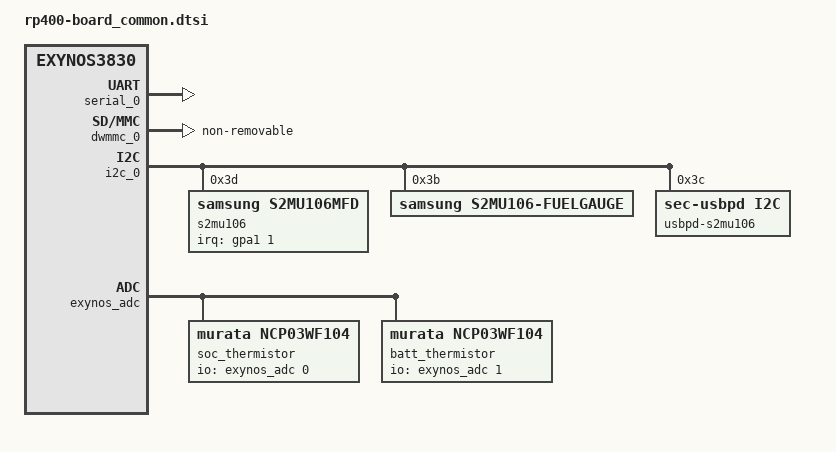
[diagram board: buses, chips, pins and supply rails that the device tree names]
/*
 * SAMSUNG EXYNOS9630 board common device tree source
 *
 * Copyright (c) 2019 Samsung Electronics Co., Ltd.
 *		http://www.samsung.com
 *
 * This program is free software; you can redistribute it and/or modify
 * it under the terms of the GNU General Public License version 2 as
 * published by the Free Software Foundation.
 */

#include <dt-bindings/interrupt-controller/exynos3830.h>
#include <dt-bindings/clock/exynos3830.h>
#include "exynos3830_battery_data.dtsi"

/ {
	fragment@common {
		target-path = "/";
		__overlay__ {
			#address-cells = <2>;
			#size-cells = <1>;

			fixed-rate-clocks {
				oscclk {
					compatible = "samsung,exynos9630-oscclk";
					clock-frequency = <26000000>;
				};
			};

			firmware {
				android {
					compatible = "android,firmware";
					vbmeta {
						compatible = "android,vbmeta";
						parts = "vbmeta,boot,system,vendor";
					};
				};
			};

			ifconn {
				status = "okay";
				compatible = "samsung,ifconn";
				ifconn,usbpd = "s2mu106";
				ifconn,muic = "s2mu106-muic";
			};

			but_zones: but_zones {
				#list-but-cells = <3>;
			};

			exynos_rgt {
				compatible = "samsung,exynos-rgt";
				num-acpm-pmic = <1>;
			};

			acpm_mfd_bus@11A50000 {
				status = "okay";
				#address-cells = <1>;
				#size-cells = <0>;

				s2mpu12mfd@00 {
					compatible = "samsung,s2mpu12mfd";
					acpm-ipc-channel = <2>;
					i2c-speedy-address;
					s2mpu12,wakeup = "enabled";
					reg = <0x00>;
					interrupts = <GIC_SPI INTREQ__PMIC IRQ_TYPE_LEVEL_HIGH>;
					pinctrl-names = "default";
					pinctrl-0 = <&pm_wrstbi>;
					/* RTC: wtsr/smpl */
					wtsr_en = "enabled"; /* enable */
					smpl_en = "enabled"; /* enable */
					wtsr_timer_val = <3>;	/* 1000ms */
					smpl_timer_val = <4>;	/* 500ms */
					check_jigon = <0>; /* do not check jigon */
					/* RTC: If it's first boot, reset rtc to 1/1/2019 12:00:00(Tue) */
					init_time,sec = <0>;
					init_time,min = <0>;
					init_time,hour = <12>;
					init_time,mday = <1>;
					init_time,mon = <0>;
					init_time,year = <119>;
					init_time,wday = <2>;

					s2mpu12-keys {
						button@1 {
							label = "pmic-keys: KEY_POWER";
							linux,code = <116>;
							wakeup = <1>;
						};
						button@2 {
							label = "pmic-keys: KEY_SLEEP";
							linux,code = <142>;
							wakeup = <1>;
						};
						button@3 {
							label = "pmic-keys: KEY_WAKEUP";
							linux,code = <143>;
							wakeup = <1>;
						};
					};

					regulators {
						b1_reg: BUCK1 {
							regulator-name = "vdd_cpu";
							regulator-min-microvolt = <500000>;
							regulator-max-microvolt = <1200000>;
							regulator-always-on;
							regulator-ramp-delay = <6000>;
							regulator-initial-mode = <1>;
						};

						b2_reg: BUCK2 {
							regulator-name = "vdd_gpu";
							regulator-min-microvolt = <500000>;
							regulator-max-microvolt = <1200000>;
							regulator-always-on;
							regulator-ramp-delay = <6000>;
							regulator-initial-mode = <1>;
						};

						b3_reg: BUCK3 {
							regulator-name = "vdd_cp";
							regulator-min-microvolt = <500000>;
							regulator-max-microvolt = <1200000>;
							regulator-boot-on;
							regulator-ramp-delay = <6000>;
							regulator-initial-mode = <3>;
						};

						b4_reg: BUCK4 {
							regulator-name = "vdd_lldo";
							regulator-min-microvolt = <900000>;
							regulator-max-microvolt = <1500000>;
							regulator-always-on;
							regulator-ramp-delay = <6000>;
							regulator-initial-mode = <3>;
						};

						b5_reg: BUCK5 {
							regulator-name = "vdd_mldo";
							regulator-min-microvolt = <1800000>;
							regulator-max-microvolt = <2100000>;
							regulator-always-on;
							regulator-ramp-delay = <6000>;
							regulator-initial-mode = <3>;
						};

						l1_reg: LDO1 {
							regulator-name = "vdd_ldo1";
							regulator-min-microvolt = <700000>;
							regulator-max-microvolt = <1300000>;
							regulator-always-on;
							regulator-ramp-delay = <12000>;
							regulator-initial-mode = <3>;
						};

						l2_reg: LDO2 {
							regulator-name = "vdd_ldo2";
							regulator-min-microvolt = <1600000>;
							regulator-max-microvolt = <1950000>;
							regulator-always-on;
							regulator-ramp-delay = <12000>;
							regulator-initial-mode = <3>;
						};

						l3_reg: LDO3 {
							regulator-name = "vdd_ldo3";
							regulator-min-microvolt = <700000>;
							regulator-max-microvolt = <1300000>;
							regulator-always-on;
							regulator-ramp-delay = <12000>;
							regulator-initial-mode = <1>;
						};

						l4_reg: LDO4 {
							regulator-name = "vdd_ldo4";
							regulator-min-microvolt = <1600000>;
							regulator-max-microvolt = <1950000>;
							regulator-always-on;
							regulator-ramp-delay = <12000>;
							regulator-initial-mode = <1>;
						};

						l5_reg: LDO5 {
							regulator-name = "vdd_ldo5";
							regulator-min-microvolt = <700000>;
							regulator-max-microvolt = <1300000>;
							regulator-always-on;
							regulator-ramp-delay = <12000>;
							regulator-initial-mode = <3>;
						};

						l6_reg: LDO6 {
							regulator-name = "vdd_ldo6";
							regulator-min-microvolt = <500000>;
							regulator-max-microvolt = <1187500>;
							regulator-always-on;
							regulator-ramp-delay = <12000>;
							regulator-initial-mode = <1>;
						};

						l7_reg: LDO7 {
							regulator-name = "vdd_ldo7";
							regulator-min-microvolt = <700000>;
							regulator-max-microvolt = <1300000>;
							regulator-always-on;
							regulator-ramp-delay = <12000>;
							regulator-initial-mode = <1>;
						};

						l8_reg: LDO8 {
							regulator-name = "vdd_ldo8";
							regulator-min-microvolt = <500000>;
							regulator-max-microvolt = <1300000>;
							regulator-always-on;
							regulator-ramp-delay = <12000>;
							regulator-initial-mode = <1>;
						};

						l9_reg: LDO9 {
							regulator-name = "vdd_ldo9";
							regulator-min-microvolt = <500000>;
							regulator-max-microvolt = <1300000>;
							regulator-always-on;
							regulator-ramp-delay = <12000>;
							regulator-initial-mode = <1>;
						};

						l10_reg: LDO10 {
							regulator-name = "vqmmc";
							regulator-min-microvolt = <1800000>;
							regulator-max-microvolt = <3375000>;
							regulator-ramp-delay = <12000>;
							regulator-initial-mode = <3>;
						};

						l11_reg: LDO11 {
							regulator-name = "vdd_ldo11";
							regulator-min-microvolt = <1800000>;
							regulator-max-microvolt = <3375000>;
							regulator-always-on;
							regulator-ramp-delay = <12000>;
							regulator-initial-mode = <3>;
						};

						l12_reg: LDO12 {
							regulator-name = "vdd_ldo12";
							regulator-min-microvolt = <700000>;
							regulator-max-microvolt = <1300000>;
							regulator-ramp-delay = <12000>;
							regulator-initial-mode = <3>;
						};

						l13_reg: LDO13 {
							regulator-name = "vdd_ldo13";
							regulator-min-microvolt = <700000>;
							regulator-max-microvolt = <1300000>;
							regulator-ramp-delay = <12000>;
							regulator-initial-mode = <3>;
						};

						l14_reg: LDO14 {
							regulator-name = "vdd_ldo14";
							regulator-min-microvolt = <1600000>;
							regulator-max-microvolt = <1950000>;
							regulator-ramp-delay = <12000>;
							regulator-initial-mode = <3>;
						};

						l15_reg: LDO15 {
							regulator-name = "vdd_ldo15";
							regulator-min-microvolt = <1800000>;
							regulator-max-microvolt = <3375000>;
							regulator-ramp-delay = <12000>;
							regulator-initial-mode = <3>;
						};

						l16_reg: LDO16 {
							regulator-name = "vdd_ldo16";
							regulator-min-microvolt = <1800000>;
							regulator-max-microvolt = <3375000>;
							regulator-ramp-delay = <12000>;
							regulator-initial-mode = <3>;
						};
/*
						l17_reg: LDO17 {
							regulator-name = "vdd_ldo17";
							regulator-min-microvolt = <700000>;
							regulator-max-microvolt = <1300000>;
							regulator-always-on;
							regulator-ramp-delay = <12000>;
							regulator-initial-mode = <3>;
						};

						l18_reg: LDO18 {
							regulator-name = "vdd_ldo18";
							regulator-min-microvolt = <700000>;
							regulator-max-microvolt = <1300000>;
							regulator-always-on;
							regulator-ramp-delay = <12000>;
							regulator-initial-mode = <3>;
						};

						l19_reg: LDO19 {
							regulator-name = "vdd_ldo19";
							regulator-min-microvolt = <700000>;
							regulator-max-microvolt = <1300000>;
							regulator-always-on;
							regulator-ramp-delay = <12000>;
							regulator-initial-mode = <3>;
						};

						l20_reg: LDO20 {
							regulator-name = "vdd_ldo20";
							regulator-min-microvolt = <1600000>;
							regulator-max-microvolt = <1950000>;
							regulator-always-on;
							regulator-ramp-delay = <12000>;
							regulator-initial-mode = <3>;
						};

						l22_reg: LDO22 {
							regulator-name = "vdd_ldo22";
							regulator-min-microvolt = <1800000>;
							regulator-max-microvolt = <3375000>;
							regulator-always-on;
							regulator-ramp-delay = <12000>;
							regulator-initial-mode = <3>;
						};
 */

						l21_reg: LDO21 {
							regulator-name = "vdd_ldo21";
							regulator-min-microvolt = <1800000>;
							regulator-max-microvolt = <1800000>;
							regulator-ramp-delay = <12000>;
							regulator-initial-mode = <3>;
						};
 
						l23_reg: LDO23 {
							regulator-name = "vdd_ldo23";
							regulator-min-microvolt = <1800000>;
							regulator-max-microvolt = <3375000>;
							regulator-always-on;
							regulator-ramp-delay = <12000>;
							regulator-initial-mode = <3>;
						};

						l24_reg: LDO24 {
							regulator-name = "vmmc";
							regulator-min-microvolt = <1800000>;
							regulator-max-microvolt = <3375000>;
							regulator-ramp-delay = <12000>;
							regulator-initial-mode = <3>;
						};

						l25_reg: LDO25 {
							regulator-name = "vdd_ldo25";
							regulator-min-microvolt = <1800000>;
							regulator-max-microvolt = <3375000>;
							regulator-ramp-delay = <12000>;
							regulator-initial-mode = <3>;
						};

						l26_reg: LDO26 {
							regulator-name = "vdd_ldo26";
							regulator-min-microvolt = <1800000>;
							regulator-max-microvolt = <3375000>;
							regulator-ramp-delay = <12000>;
							regulator-initial-mode = <3>;
						};

						l27_reg: LDO27 {
							regulator-name = "vdd_ldo27";
							regulator-min-microvolt = <1800000>;
							regulator-max-microvolt = <3375000>;
							regulator-ramp-delay = <12000>;
							regulator-initial-mode = <3>;
						};

						l28_reg: LDO28 {
							regulator-name = "vdd_ldo28";
							regulator-min-microvolt = <1600000>;
							regulator-max-microvolt = <1950000>;
							regulator-ramp-delay = <12000>;
							regulator-initial-mode = <3>;
						};


						l29_reg: LDO29 {
							regulator-name = "vdd_ldo29";
							regulator-min-microvolt = <850000>;
							regulator-max-microvolt = <850000>;
							regulator-ramp-delay = <12000>;
							regulator-initial-mode = <3>;
						};

						l30_reg: LDO30 {
							regulator-name = "vdd_ldo30";
							regulator-min-microvolt = <1800000>;
							regulator-max-microvolt = <1800000>;
							regulator-ramp-delay = <12000>;
							regulator-initial-mode = <3>;
						};

						l31_reg: LDO31 {
							regulator-name = "vdd_ldo31";
							regulator-min-microvolt = <1800000>;
							regulator-max-microvolt = <3375000>;
							regulator-ramp-delay = <12000>;
							regulator-initial-mode = <3>;
						};

						l32_reg: LDO32 {
							regulator-name = "vdd_ldo32";
							regulator-min-microvolt = <2800000>;
							regulator-max-microvolt = <2800000>;
							regulator-ramp-delay = <12000>;
							regulator-initial-mode = <3>;
						};

						l33_reg: LDO33 {
							regulator-name = "vdd_aldo1";
							regulator-min-microvolt = <1600000>;
							regulator-max-microvolt = <1950000>;
							regulator-ramp-delay = <12000>;
							regulator-initial-mode = <3>;
						};

						l34_reg: LDO34 {
							regulator-name = "vdd_aldo2";
							regulator-min-microvolt = <1800000>;
							regulator-max-microvolt = <3375000>;
							regulator-ramp-delay = <12000>;
							regulator-initial-mode = <3>;
						};

						l35_reg: LDO35 {
							regulator-name = "vdd_ldo_core";
							regulator-min-microvolt = <1600000>;
							regulator-max-microvolt = <1950000>;
							regulator-always-on;
							regulator-ramp-delay = <12000>;
							regulator-initial-mode = <3>;
						};

						l36_reg: LDO36 {
							regulator-name = "vdd_ldo_buf";
							regulator-min-microvolt = <700000>;
							regulator-max-microvolt = <1300000>;
							regulator-ramp-delay = <12000>;
							regulator-initial-mode = <3>;
						};
					}; /* end of regulators */
				}; /* end of s2mpu12mfd@00 */
			}; /* end of acpm_mfd_bus@11a10000 */
		}; /* end of __overlay__ */
	}; /* end of fragment */
}; /* end of root */

&chosen {
	bootargs = "console=ttySAC0,115200n8 clk_ignore_unused root=/dev/ram0 androidboot.boot_devices=12100000.dwmmc0 androidboot.dtbo_idx=0 androidboot.debug_level=0x4948 firmware_class.path=/vendor/firmware pmic_info=0x3 ccic_info=0x0 reserve-fimc=0xffffff90f9fe0000 loglevel=4";
	bootargs_ext = "";
};

&serial_0 {
	status = "okay";
};

&pinctrl_0 {
	attn_irq: attn-irq {
		samsung,pins = "gpa0-0";
		samsung,pin-function = <0xf>;
		samsung,pin-pud = <0>;
		samsung,pin-drv = <0>;
	};

	attn_input: attn-input {
		samsung,pins = "gpa0-0";
		samsung,pin-function = <0>;
		samsung,pin-pud = <1>;
	};

	key_pagedown: key-pagedown {
		samsung,pins = "gpa1-0";
		samsung,pin-function = <0xf>;
		samsung,pin-pud = <0>;
		samsung,pin-drv = <0>;
	};

	key_pageup: key-pageup {
		samsung,pins = "gpa0-7";
		samsung,pin-function = <0xf>;
		samsung,pin-pud = <0>;
		samsung,pin-drv = <0>;
	};

	key_function1: key-function1 {
		samsung,pins = "gpa1-5";
		samsung,pin-function = <0xf>;
		samsung,pin-pud = <0>;
		samsung,pin-drv = <0>;
	};

	dwmmc2_cd_ext_irq: dwmmc2_cd_ext_irq {
		samsung,pins = "gpa0-3";
		samsung,pin-function = <0xf>;
		samsung,pin-pud = <0>;
		samsung,pin-drv = <4>;
	};

	if_pmic_irq: if-pmic-irq {
		samsung,pins = "gpa1-1";
		samsung,pin-function = <0>;
		samsung,pin-pud = <0>;
		samsung,pin-drv = <0>;
	};

	usbpd_irq: usbpd_irq {
		samsung,pins = "gpa0-2";
		samsung,pin-function = <0xf>;
		samsung,pin-pud = <3>;
		samsung-pin-drv = <3>;
	};
};

&dwmmc_0 {
	status = "okay";
	num-slots = <1>;
	broken-cd;
	fixed_voltage;
	supports-highspeed;
	mmc-ddr-1_8v;
	mmc-hs200-1_8v;
	mmc-hs400-1_8v;
	supports-8bit;
	supports-cmd23;
	supports-erase;
	mmc-hs400-enhanced-strobe;
	card-init-hwacg-ctrl;
	qos-dvfs-level = <334000>;
	enable-ulp-mode;
	/* support-cmdq; */
	fifo-depth = <0x40>;
	non-removable;
	desc-size = <4>;
	card-detect-delay = <200>;
	samsung,dw-mshc-ciu-div = <3>;
	samsung,dw-mshc-txdt-crc-timer-fastlimit = <0x34>;
	samsung,dw-mshc-txdt-crc-timer-initval = <0x38>;
	samsung,dw-mshc-hs400-tx-delay-line = <0x40>;
	samsung,dw-mshc-hs400-delay-line = <0x60>;
	samsung,dw-mshc-sdr-timing = <3 0 4 0>;
	samsung,dw-mshc-ddr-timing = <3 0 4 2>;
	samsung,dw-mshc-hs200-timing = <3 0 3 0>;
	samsung,dw-mshc-hs400-timing = <1 0 2 0>;
	samsung,dw-mshc-hs400-ulp-timing = <3 0 4 2>;

	num-ref-clks = <12>;
	ciu_clkin = <25 50 50 25 50 100 200 50 50 200 200 200>;

	/* Swapping clock drive strength */
	clk-drive-number = <4>;
	pinctrl-names = "default",
		"fast-slew-rate-1x",
		"fast-slew-rate-2x",
		"fast-slew-rate-3x",
		"fast-slew-rate-4x";
	pinctrl-0 = <&sd0_clk &sd0_cmd &sd0_rdqs &sd0_nreset &sd0_bus1 &sd0_bus4 &sd0_bus8>;
	pinctrl-1 = <&sd0_clk_fast_slew_rate_1x>;
	pinctrl-2 = <&sd0_clk_fast_slew_rate_2x>;
	pinctrl-3 = <&sd0_clk_fast_slew_rate_3x>;
	pinctrl-4 = <&sd0_clk_fast_slew_rate_4x>;

	slot@0 {
		reg = <0>;
		bus-width = <8>;
	};

};

&pinctrl_5 {
	pm_wrstbi: pm-wrstbi {
		samsung,pins = "gpg1-7";
		samsung,pin-con-pdn = <3>;
	};

	vdd_on: vdd-on {
		samsung,pins = "gpg2-6";
		samsung,pin-function = <1>;
		samsung,pin-val = <1>;
		samsung,pin-pud = <3>;
		samsung,pin-drv = <3>;
	};

	vdd_off: vdd-off {
		samsung,pins = "gpg2-6";
		samsung,pin-functon = <1>;
		samsung,pin-val = <0>;
		samsung,pin-pud = <1>;
		samsung,pin-drv = <3>;
	};

	led_pwm_on: led-pwm-on {
		samsung,pins = "gpg0-0";
		samsung,pin-function = <0x2>;
	};

	led_pwm_off: led-pwm-off {
		samsung,pins = "gpg0-0";
		samsung,pin-function = <0x0>;
	};

	led_pwm1_on: led-pwm1-on {
		samsung,pins = "gpg0-1";
		samsung,pin-function = <0x2>;
	};

	led_pwm1_off: led-pwm1-off {
		samsung,pins = "gpg0-1";
		samsung,pin-function = <0x0>;
	};

	magnetic_nweint_on: magnetic-nweint-on {
		samsung,pins = "gpg2-4";
		samsung,pin-function = <0xf>;
	};
};

&i2c_0 {
	#address-cells = <1>;
	#size-cells = <0>;
	status = "okay";
	s2mu106@3d {
		compatible = "samsung,s2mu106mfd";
		reg = <0x3d>;
		pinctrl-names = "default";
		pinctrl-0 = <&if_pmic_irq>;
		s2mu106,irq-gpio = <&gpa1 1 0>;
		s2mu106,wakeup;
	};

	rgb_led {
		status = "okay";
		default_current = <50>;
		max_current = <200>;
		default_timer = <0>;

		s2mu106-channel1 {
			id = <0>;
		};

		s2mu106-channel2 {
			id = <1>;
		};

		s2mu106-channel3 {
			id = <2>;
		};
	};

	s2mu106-charger {
		status = "okay";
		battery,charger_name = "s2mu106-charger";
		battery,chg_gpio_en = <0>;
		battery,chg_polarity_en = <0>;
		battery,chg_gpio_status = <0>;
		battery,chg_polarity_status = <0>;
		battery,chg_float_voltage = <4350>;
		battery,chg_recharge_vcell = <4250>;
		battery,chg_full_vcell = <4300>;
		battery,full_check_type = <2>;
		battery,full_check_type_2nd = <2>;
		battery,input_current_limit = <
			500 450 500 1200 500 1200 1200 1000 1000 1000
			1000 500 500 1200 1000 500 450>;
		battery,fast_charging_current =	<
			500 450 500 1200 500 1200 1200 1000 1000 1000
			1000 500 500 1200 1000 500 450>;
		battery,full_check_current_1st = <
			300 0 300 300 300 300 300 300 300 300
			300 300 300 300 300 300 0>;
		battery,full_check_current_2nd = <
			100 0 100 100 100 100 100 100 100 100
			100 100 100 100 100 100 0>;
		wcin_priority;
		wcin_current_limit = <2000>;
		wcin_type = <3>; /* POWER_SUPPLY_TYPE_MAINS */
	};

	s2mu106-fuelgauge@3B {
		compatible = "samsung,s2mu106-fuelgauge";
		reg = <0x3B>;
		pinctrl-names = "default";
		fuelgauge,fuel_alert_vol = <3400>;
		fuelgauge,fuel_alert_soc = <1>;
		fuelgauge,type_str = "SDI";
		fuelgauge,model_type = <1>;
		fuelgauge,force_vntc_on;
	};

	usbpd-s2mu106@3C {
		compatible = "sec-usbpd,i2c";
		reg = <0x3C>;
		pinctrl-names = "default";
		pinctrl-0 = <&usbpd_irq>;
		usbpd,usbpd_int = <&gpa0 2 0>;

		pdic-manager {
			/* sink */
			pdic,max_power = <5000>;
			pdic_op_power = <2500>;
			pdic_max_voltage = <6000>;
			pdic_max_current = <2000>;
			pdic,min_current = <500>;

			pdic,giveback = <0>;
			pdic,usb_com_capable = <1>;
			pdic,no_usb_suspend = <1>;

			/* source */
			source,max_voltage = <5000>;
			source,min_voltage = <4000>;
			source,max_power = <2500>;

			/* sink cap */
			sink,capable_max_voltage = <5000>;
		};
	};
};

&exynos_adc {
	statuss = "okay";
	soc_thermistor {
		compatible = "murata,ncp03wf104";
		status = "okay";
		pullup-uv = <1800000>;
		pullup-ohm = <100000>;
		pulldown-ohm = <0>;
		io-channels = <&exynos_adc 0>;
		io-channel-names = "soc_therm";
	};
	batt_thermistor {
		compatible = "murata,ncp03wf104";
		status = "okay";
		pullup-uv = <1800000>;
		pullup-ohm = <100000>;
		pulldown-ohm = <0>;
		io-channels = <&exynos_adc 1>;
		io-channel-names = "batt_therm";
	};
};
